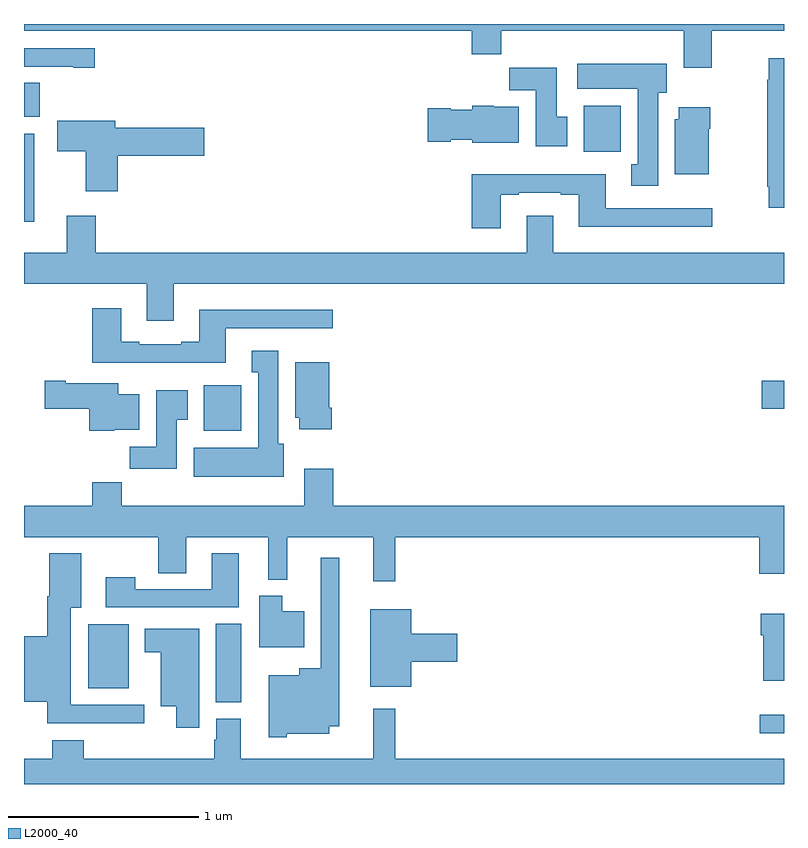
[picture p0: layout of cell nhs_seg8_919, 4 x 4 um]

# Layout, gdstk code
import gdstk
lib = gdstk.Library(unit=1e-6, precision=1e-09)
def R(c, l, rs):  # rectangles x0, y0, x1, y1
    for r in rs: c.add(gdstk.rectangle(r[:2], r[2:], *l))
def P(c, l, *ps):  # polygons
    for p in ps: c.add(gdstk.Polygon(p, *l))
L2000_40 = (2000, 40)

nhs_seg8_919 = lib.new_cell('nhs_seg8_919')
R(nhs_seg8_919, L2000_40, [(174.873,1082.168,175,1082.265), (172.01,1082.329,172.144,1082.744), (171.338,1082.405,171.55,1082.74), (171.947,1083.758,172.144,1084), (174.882,1083.875,175,1084.022), (171,1084.86,171.055,1085.323), (173.945,1085.228,174.142,1085.47), (171,1085.412,171.083,1085.591)])
P(nhs_seg8_919, L2000_40, [(174.621,1085.864),(175,1085.864),(175,1085.9),(171,1085.9),(171,1085.864),(173.357,1085.864),(173.357,1085.74),(173.513,1085.74),(173.513,1085.864),(174.473,1085.864),(174.473,1085.67),(174.621,1085.67)],
  [(171.373,1085.772),(171,1085.772),(171,1085.676),(171.26,1085.676),(171.26,1085.671),(171.373,1085.671)],
  [(175,1085.719),(174.92,1085.719),(174.92,1085.606),(174.913,1085.606),(174.913,1085.044),(174.92,1085.044),(174.92,1084.932),(175,1084.932)],
  [(174.337,1085.538),(174.382,1085.538),(174.382,1085.692),(173.913,1085.692),(173.913,1085.558),(174.23,1085.558),(174.23,1085.162),(174.197,1085.162),(174.197,1085.049),(174.337,1085.049)],
  [(173.86,1085.412),(173.803,1085.412),(173.803,1085.671),(173.554,1085.671),(173.554,1085.552),(173.693,1085.552),(173.693,1085.256),(173.86,1085.256)],
  [(173.605,1085.464),(173.472,1085.464),(173.472,1085.47),(173.358,1085.47),(173.358,1085.449),(173.247,1085.449),(173.247,1085.457),(173.124,1085.457),(173.124,1085.279),(173.247,1085.279),(173.247,1085.291),(173.358,1085.291),(173.358,1085.276),(173.605,1085.276)],
  [(174.604,1085.348),(174.612,1085.348),(174.612,1085.461),(174.446,1085.461),(174.446,1085.4),(174.425,1085.4),(174.425,1085.108),(174.604,1085.108)],
  [(171.494,1085.207),(171.949,1085.207),(171.949,1085.354),(171.481,1085.354),(171.481,1085.392),(171.174,1085.392),(171.174,1085.23),(171.326,1085.23),(171.326,1085.019),(171.494,1085.019)],
  [(173.509,1085.001),(173.605,1085.001),(173.605,1085.013),(173.825,1085.013),(173.825,1085.001),(173.921,1085.001),(173.921,1084.832),(174.622,1084.832),(174.622,1084.929),(174.061,1084.929),(174.061,1085.11),(173.357,1085.11),(173.357,1084.824),(173.509,1084.824)],
  [(171.787,1084.532),(175,1084.532),(175,1084.696),(173.785,1084.696),(173.785,1084.891),(173.645,1084.891),(173.645,1084.696),(171.377,1084.696),(171.377,1084.891),(171.224,1084.891),(171.224,1084.696),(171,1084.696),(171,1084.532),(171.647,1084.532),(171.647,1084.338),(171.787,1084.338)],
  [(172.063,1084.299),(172.624,1084.299),(172.624,1084.396),(171.923,1084.396),(171.923,1084.228),(171.827,1084.228),(171.827,1084.215),(171.607,1084.215),(171.607,1084.228),(171.511,1084.228),(171.511,1084.405),(171.359,1084.405),(171.359,1084.118),(172.063,1084.118)],
  [(172.366,1083.69),(172.339,1083.69),(172.339,1084.18),(172.199,1084.18),(172.199,1084.067),(172.232,1084.067),(172.232,1083.67),(171.893,1083.67),(171.893,1083.518),(172.366,1083.518)],
  [(172.619,1083.88),(172.606,1083.88),(172.606,1084.12),(172.427,1084.12),(172.427,1083.828),(172.448,1083.828),(172.448,1083.768),(172.619,1083.768)],
  [(171.474,1083.764),(171.607,1083.764),(171.607,1083.952),(171.496,1083.952),(171.496,1084.009),(171.22,1084.009),(171.22,1084.022),(171.108,1084.022),(171.108,1083.875),(171.344,1083.875),(171.344,1083.758),(171.474,1083.758)],
  [(171.805,1083.817),(171.862,1083.817),(171.862,1083.973),(171.695,1083.973),(171.695,1083.676),(171.556,1083.676),(171.556,1083.558),(171.805,1083.558)],
  [(172.838,1082.967),(172.955,1082.967),(172.955,1083.2),(174.869,1083.2),(174.869,1083.006),(175,1083.006),(175,1083.364),(172.628,1083.364),(172.628,1083.559),(172.475,1083.559),(172.475,1083.364),(171.515,1083.364),(171.515,1083.488),(171.359,1083.488),(171.359,1083.364),(171,1083.364),(171,1083.2),(171.706,1083.2),(171.706,1083.01),(171.853,1083.01),(171.853,1083.2),(172.286,1083.2),(172.286,1082.975),(172.385,1082.975),(172.385,1083.2),(172.838,1083.2)],
  [(172.129,1083.115),(171.989,1083.115),(171.989,1082.925),(171.585,1082.925),(171.585,1082.989),(171.429,1082.989),(171.429,1082.829),(172.129,1082.829)],
  [(171.634,1082.316),(171.247,1082.316),(171.247,1082.828),(171.301,1082.828),(171.301,1083.115),(171.134,1083.115),(171.134,1082.888),(171.122,1082.888),(171.122,1082.677),(171,1082.677),(171,1082.333),(171.122,1082.333),(171.122,1082.219),(171.634,1082.219)],
  [(172.383,1082.165),(172.606,1082.165),(172.606,1082.204),(172.66,1082.204),(172.66,1083.091),(172.563,1083.091),(172.563,1082.509),(172.448,1082.509),(172.448,1082.473),(172.289,1082.473),(172.289,1082.147),(172.383,1082.147)],
  [(172.474,1082.809),(172.36,1082.809),(172.36,1082.89),(172.238,1082.89),(172.238,1082.621),(172.474,1082.621)],
  [(173.038,1082.543),(173.281,1082.543),(173.281,1082.69),(173.038,1082.69),(173.038,1082.821),(172.823,1082.821),(172.823,1082.411),(173.038,1082.411)],
  [(175,1082.797),(174.878,1082.797),(174.878,1082.684),(174.89,1082.684),(174.89,1082.444),(175,1082.444)],
  [(171.922,1082.716),(171.635,1082.716),(171.635,1082.594),(171.719,1082.594),(171.719,1082.309),(171.8,1082.309),(171.8,1082.196),(171.922,1082.196)],
  [(175,1082.032),(172.955,1082.032),(172.955,1082.296),(172.837,1082.296),(172.837,1082.032),(172.141,1082.032),(172.141,1082.244),(172.013,1082.244),(172.013,1082.133),(172.001,1082.133),(172.001,1082.032),(171.314,1082.032),(171.314,1082.131),(171.149,1082.131),(171.149,1082.032),(171,1082.032),(171,1081.9),(175,1081.9)])

lib.write_gds('nhs_seg8_919.gds')
